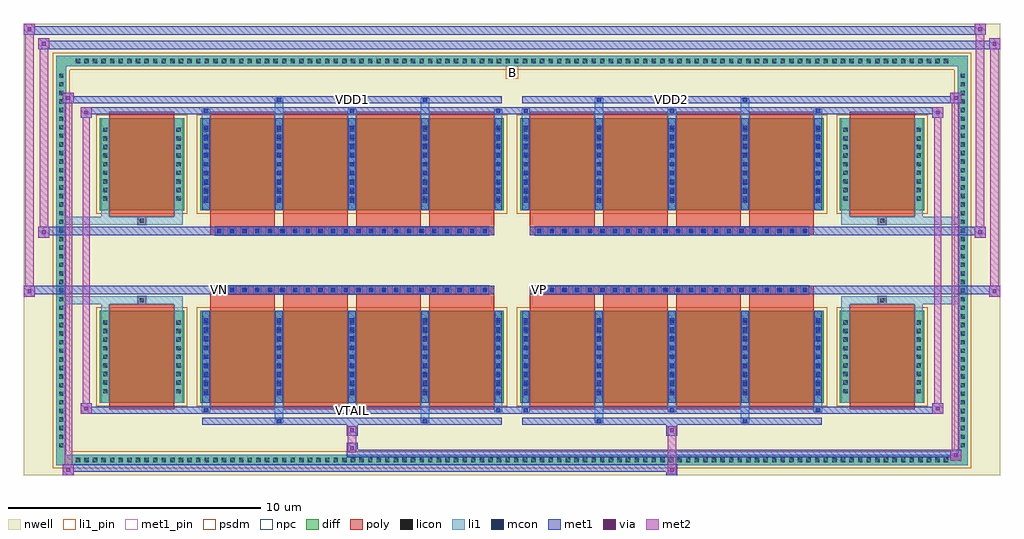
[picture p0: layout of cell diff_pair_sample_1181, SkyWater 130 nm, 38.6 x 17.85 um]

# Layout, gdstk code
import gdstk
lib = gdstk.Library(unit=1e-6, precision=5e-09)
def R(c, l, rs):  # rectangles x0, y0, x1, y1
    for r in rs: c.add(gdstk.rectangle(r[:2], r[2:], *l))
def A(c, l, x, y, w, h, nx, ny, dx, dy):  # array of equal rectangles
    R(c, l, [(x+i*dx, y+j*dy, x+i*dx+w, y+j*dy+h) for i in range(nx) for j in range(ny)])
def P(c, l, *ps):  # polygons
    for p in ps: c.add(gdstk.Polygon(p, *l))
nwell = (64, 20)
diff = (65, 20)
poly = (66, 20)
licon = (66, 44)
li1_pin = (67, 16)
li1 = (67, 20)
mcon = (67, 44)
met1_pin = (68, 16)
met1 = (68, 20)
via = (68, 44)
met2 = (69, 20)
psdm = (94, 20)
npc = (95, 20)

diff_pair_sample_1181 = lib.new_cell('diff_pair_sample_1181')
R(diff_pair_sample_1181, nwell, [(-19.3,-8.49,19.3,9.36), (-16.62,-6.68,-0.01,-0.8), (0.01,-6.68,16.62,-0.8), (-16.62,0.8,-0.01,6.68), (0.01,0.8,16.62,6.68)])
A(diff_pair_sample_1181, diff, -17.375, -8.09, 0.41, 0.41, 102, 2, 0.34, 15.77)
A(diff_pair_sample_1181, diff, -18.03, -7.515, 0.41, 0.41, 1, 44, 0, 0.34)
A(diff_pair_sample_1181, diff, 17.62, -7.515, 0.41, 0.41, 1, 44, 0, 0.34)
R(diff_pair_sample_1181, diff, [(-17.375,-8.09,17.375,-7.68), (-18.03,-7.515,-17.62,7.515), (17.62,-7.515,18.03,7.515), (-16.31,-5.635,-12.97,-1.985), (-12.33,-5.635,-0.32,-1.985), (0.32,-5.635,12.33,-1.985), (12.97,-5.635,16.31,-1.985), (-16.31,1.985,-12.97,5.635), (-12.33,1.985,-0.32,5.635), (0.32,1.985,12.33,5.635), (12.97,1.985,16.31,5.635), (-17.375,7.68,17.375,8.09)])
P(diff_pair_sample_1181, diff, [(18.03,8.09),(-18.03,8.09),(-18.03,-7.68),(-17.62,-7.68),(-17.62,7.68),(17.62,7.68),(17.62,-7.68),(-17.62,-7.68),(-18.03,-7.68),(-18.03,-8.09),(18.03,-8.09)])
A(diff_pair_sample_1181, poly, -11.94, -5.885, 2.56, 4.15, 4, 2, 2.89, 7.62)
A(diff_pair_sample_1181, poly, 0.71, -5.885, 2.56, 4.15, 4, 2, 2.89, 7.62)
A(diff_pair_sample_1181, poly, -11.94, -1.735, 2.56, 0.405, 4, 2, 2.89, 3.065)
A(diff_pair_sample_1181, poly, 0.71, -1.735, 2.56, 0.405, 4, 2, 2.89, 3.065)
A(diff_pair_sample_1181, poly, -11.74, -1.33, 0.33, 0.33, 22, 2, 0.5, 2.33)
A(diff_pair_sample_1181, poly, 0.91, -1.33, 0.33, 0.33, 22, 2, 0.5, 2.33)
R(diff_pair_sample_1181, poly, [(-15.92,-5.885,-13.36,-1.735), (13.36,-5.885,15.92,-1.735), (-14.805,-1.735,-14.475,-1.405), (-14.805,-1.735,-14.475,-1.405), (14.475,-1.735,14.805,-1.405), (14.475,-1.735,14.805,-1.405), (-11.94,-1.33,-0.71,-1), (0.71,-1.33,11.94,-1), (-11.94,1,-0.71,1.33), (0.71,1,11.94,1.33), (-14.805,1.405,-14.475,1.735), (-14.805,1.405,-14.475,1.735), (14.475,1.405,14.805,1.735), (14.475,1.405,14.805,1.735), (-15.92,1.735,-13.36,5.885), (13.36,1.735,15.92,5.885)])
A(diff_pair_sample_1181, licon, -17.255, -7.97, 0.17, 0.17, 102, 2, 0.34, 15.77)
A(diff_pair_sample_1181, licon, -17.91, -7.395, 0.17, 0.17, 1, 44, 0, 0.34)
A(diff_pair_sample_1181, licon, 17.74, -7.395, 0.17, 0.17, 1, 44, 0, 0.34)
A(diff_pair_sample_1181, licon, -16.17, -5.255, 0.17, 0.17, 1, 9, 0, 0.34)
A(diff_pair_sample_1181, licon, -13.28, -5.255, 0.17, 0.17, 1, 9, 0, 0.34)
A(diff_pair_sample_1181, licon, -12.19, -5.255, 0.17, 0.17, 5, 9, 2.89, 0.34)
A(diff_pair_sample_1181, licon, 0.46, -5.255, 0.17, 0.17, 5, 9, 2.89, 0.34)
A(diff_pair_sample_1181, licon, 13.11, -5.255, 0.17, 0.17, 1, 9, 0, 0.34)
A(diff_pair_sample_1181, licon, 16, -5.255, 0.17, 0.17, 1, 9, 0, 0.34)
A(diff_pair_sample_1181, licon, -11.66, -1.25, 0.17, 0.17, 22, 2, 0.5, 2.33)
A(diff_pair_sample_1181, licon, 0.99, -1.25, 0.17, 0.17, 22, 2, 0.5, 2.33)
A(diff_pair_sample_1181, licon, -16.17, 2.365, 0.17, 0.17, 1, 9, 0, 0.34)
A(diff_pair_sample_1181, licon, -13.28, 2.365, 0.17, 0.17, 1, 9, 0, 0.34)
A(diff_pair_sample_1181, licon, -12.19, 2.365, 0.17, 0.17, 5, 9, 2.89, 0.34)
A(diff_pair_sample_1181, licon, 0.46, 2.365, 0.17, 0.17, 5, 9, 2.89, 0.34)
A(diff_pair_sample_1181, licon, 13.11, 2.365, 0.17, 0.17, 1, 9, 0, 0.34)
A(diff_pair_sample_1181, licon, 16, 2.365, 0.17, 0.17, 1, 9, 0, 0.34)
R(diff_pair_sample_1181, licon, [(-14.725,-1.655,-14.555,-1.485), (14.555,-1.655,14.725,-1.485), (-14.725,1.485,-14.555,1.655), (14.555,1.485,14.725,1.655)])
R(diff_pair_sample_1181, li1_pin, [(-0.25,7.18,0.25,7.68)])
A(diff_pair_sample_1181, li1, -17.335, -8.05, 0.33, 0.33, 102, 2, 0.34, 15.77)
A(diff_pair_sample_1181, li1, -17.99, -7.475, 0.33, 0.33, 1, 44, 0, 0.34)
A(diff_pair_sample_1181, li1, 17.66, -7.475, 0.33, 0.33, 1, 44, 0, 0.34)
A(diff_pair_sample_1181, li1, -12.27, -6.01, 0.33, 0.375, 3, 2, 5.78, 11.645)
A(diff_pair_sample_1181, li1, -12.19, -6.01, 0.17, 0.17, 3, 2, 5.78, 11.85)
A(diff_pair_sample_1181, li1, 0.38, -6.01, 0.33, 0.375, 3, 2, 5.78, 11.645)
A(diff_pair_sample_1181, li1, 0.46, -6.01, 0.17, 0.17, 3, 2, 5.78, 11.85)
A(diff_pair_sample_1181, li1, -12.27, -5.635, 0.33, 3.65, 5, 2, 2.89, 7.62)
A(diff_pair_sample_1181, li1, 0.38, -5.635, 0.33, 3.65, 5, 2, 2.89, 7.62)
A(diff_pair_sample_1181, li1, -16.25, -5.335, 0.33, 0.33, 1, 9, 0, 0.34)
A(diff_pair_sample_1181, li1, -13.36, -5.335, 0.33, 0.33, 1, 9, 0, 0.34)
A(diff_pair_sample_1181, li1, -12.27, -5.335, 0.33, 0.33, 5, 9, 2.89, 0.34)
A(diff_pair_sample_1181, li1, -12.19, -5.335, 0.17, 0.17, 5, 9, 2.89, 0.36)
A(diff_pair_sample_1181, li1, -12.19, -5.335, 0.17, 3.05, 5, 2, 2.89, 7.62)
A(diff_pair_sample_1181, li1, 0.38, -5.335, 0.33, 0.33, 5, 9, 2.89, 0.34)
A(diff_pair_sample_1181, li1, 0.46, -5.335, 0.17, 0.17, 5, 9, 2.89, 0.36)
A(diff_pair_sample_1181, li1, 0.46, -5.335, 0.17, 3.05, 5, 2, 2.89, 7.62)
A(diff_pair_sample_1181, li1, 13.03, -5.335, 0.33, 0.33, 1, 9, 0, 0.34)
A(diff_pair_sample_1181, li1, 15.92, -5.335, 0.33, 0.33, 1, 9, 0, 0.34)
A(diff_pair_sample_1181, li1, -11.74, -1.33, 0.33, 0.33, 22, 2, 0.5, 2.33)
A(diff_pair_sample_1181, li1, 0.91, -1.33, 0.33, 0.33, 22, 2, 0.5, 2.33)
A(diff_pair_sample_1181, li1, -16.25, 2.285, 0.33, 0.33, 1, 9, 0, 0.34)
A(diff_pair_sample_1181, li1, -13.36, 2.285, 0.33, 0.33, 1, 9, 0, 0.34)
A(diff_pair_sample_1181, li1, -12.27, 2.285, 0.33, 0.33, 5, 9, 2.89, 0.34)
A(diff_pair_sample_1181, li1, -12.19, 2.285, 0.17, 0.17, 5, 9, 2.89, 0.36)
A(diff_pair_sample_1181, li1, 0.38, 2.285, 0.33, 0.33, 5, 9, 2.89, 0.34)
A(diff_pair_sample_1181, li1, 0.46, 2.285, 0.17, 0.17, 5, 9, 2.89, 0.36)
A(diff_pair_sample_1181, li1, 13.03, 2.285, 0.33, 0.33, 1, 9, 0, 0.34)
A(diff_pair_sample_1181, li1, 15.92, 2.285, 0.33, 0.33, 1, 9, 0, 0.34)
R(diff_pair_sample_1181, li1, [(-18.03,-8.09,-17.62,-7.68), (-18.03,-8.09,-17.62,-7.68), (-17.62,-8.09,17.62,-7.68), (17.62,-8.09,18.03,-7.68), (17.62,-8.09,18.03,-7.68), (-18.03,-7.68,-17.62,7.68), (17.62,-7.68,18.03,7.68), (-9.38,-6.44,-9.05,-5.635), (-9.3,-6.44,-9.13,-6.27), (-3.6,-6.44,-3.27,-5.635), (-3.52,-6.44,-3.35,-6.27), (3.27,-6.44,3.6,-5.635), (3.35,-6.44,3.52,-6.27), (9.05,-6.44,9.38,-5.635), (9.13,-6.44,9.3,-6.27), (-16.25,-5.635,-15.92,-1.985), (-13.36,-5.635,-13.03,-1.985), (13.03,-5.635,13.36,-1.985), (15.92,-5.635,16.25,-1.985), (-16.25,-1.985,-15.92,-1.405), (-13.36,-1.985,-13.03,-1.405), (13.03,-1.985,13.36,-1.405), (15.92,-1.985,16.25,-1.405), (-18.03,-1.735,-14.805,-1.405), (-16.25,-1.735,-14.805,-1.405), (-14.805,-1.735,-14.475,-1.405), (-14.475,-1.735,-13.03,-1.405), (13.03,-1.735,14.475,-1.405), (14.475,-1.735,14.805,-1.405), (14.475,-1.735,18.03,-1.405), (14.805,-1.735,16.25,-1.405), (-18.03,1.405,-14.805,1.735), (-16.25,1.405,-14.805,1.735), (-16.25,1.405,-15.92,1.985), (-14.805,1.405,-14.475,1.735), (-14.475,1.405,-13.03,1.735), (-13.36,1.405,-13.03,1.985), (13.03,1.405,14.475,1.735), (13.03,1.405,13.36,1.985), (14.475,1.405,14.805,1.735), (14.475,1.405,18.03,1.735), (14.805,1.405,16.25,1.735), (15.92,1.405,16.25,1.985), (-16.25,1.985,-15.92,5.635), (-13.36,1.985,-13.03,5.635), (13.03,1.985,13.36,5.635), (15.92,1.985,16.25,5.635), (-9.38,5.635,-9.05,6.44), (-3.6,5.635,-3.27,6.44), (3.27,5.635,3.6,6.44), (9.05,5.635,9.38,6.44), (-9.3,6.27,-9.13,6.44), (-3.52,6.27,-3.35,6.44), (3.35,6.27,3.52,6.44), (9.13,6.27,9.3,6.44), (-18.03,7.68,-17.62,8.09), (-18.03,7.68,-17.62,8.09), (-17.62,7.68,17.62,8.09), (17.62,7.68,18.03,8.09), (17.62,7.68,18.03,8.09)])
A(diff_pair_sample_1181, mcon, -12.19, -6.01, 0.17, 0.17, 3, 2, 5.78, 11.85)
A(diff_pair_sample_1181, mcon, 0.46, -6.01, 0.17, 0.17, 3, 2, 5.78, 11.85)
A(diff_pair_sample_1181, mcon, -12.19, -5.335, 0.17, 0.17, 5, 9, 2.89, 0.36)
A(diff_pair_sample_1181, mcon, 0.46, -5.335, 0.17, 0.17, 5, 9, 2.89, 0.36)
A(diff_pair_sample_1181, mcon, -11.66, -1.25, 0.17, 0.17, 22, 2, 0.5, 2.33)
A(diff_pair_sample_1181, mcon, 0.99, -1.25, 0.17, 0.17, 22, 2, 0.5, 2.33)
A(diff_pair_sample_1181, mcon, -12.19, 2.285, 0.17, 0.17, 5, 9, 2.89, 0.36)
A(diff_pair_sample_1181, mcon, 0.46, 2.285, 0.17, 0.17, 5, 9, 2.89, 0.36)
R(diff_pair_sample_1181, mcon, [(-9.3,-6.44,-9.13,-6.27), (-3.52,-6.44,-3.35,-6.27), (3.35,-6.44,3.52,-6.27), (9.13,-6.44,9.3,-6.27), (-9.3,6.27,-9.13,6.44), (-3.52,6.27,-3.35,6.44), (3.35,6.27,3.52,6.44), (9.13,6.27,9.3,6.44)])
R(diff_pair_sample_1181, met1_pin, [(-6.46,-6.05,-6.19,-5.78), (-11.71,-1.29,-11.44,-1.02), (0.94,-1.29,1.21,-1.02), (-6.46,6.23,-6.19,6.5), (6.19,6.23,6.46,6.5)])
A(diff_pair_sample_1181, met1, -12.25, -6.07, 0.29, 0.29, 3, 2, 5.78, 11.85)
A(diff_pair_sample_1181, met1, 0.4, -6.07, 0.29, 0.29, 3, 2, 5.78, 11.85)
A(diff_pair_sample_1181, met1, -12.25, -5.635, 0.29, 3.65, 5, 2, 2.89, 7.62)
A(diff_pair_sample_1181, met1, 0.4, -5.635, 0.29, 3.65, 5, 2, 2.89, 7.62)
A(diff_pair_sample_1181, met1, -12.25, -5.395, 0.29, 0.29, 5, 9, 2.89, 0.36)
A(diff_pair_sample_1181, met1, 0.4, -5.395, 0.29, 0.29, 5, 9, 2.89, 0.36)
A(diff_pair_sample_1181, met1, -11.72, -1.31, 0.29, 0.29, 22, 2, 0.5, 2.33)
A(diff_pair_sample_1181, met1, 0.93, -1.31, 0.29, 0.29, 22, 2, 0.5, 2.33)
A(diff_pair_sample_1181, met1, -12.25, 2.225, 0.29, 0.29, 5, 9, 2.89, 0.36)
A(diff_pair_sample_1181, met1, 0.4, 2.225, 0.29, 0.29, 5, 9, 2.89, 0.36)
R(diff_pair_sample_1181, met1, [(-17.76,-8.49,-17.33,-8.06), (6.11,-8.49,6.54,-8.06), (-17.76,-8.35,6.54,-8.06), (17.33,-7.92,17.76,-7.49), (-6.54,-7.78,17.76,-7.49), (-6.54,-7.64,-6.11,-7.21), (-6.54,-6.93,-6.11,-6.5), (6.11,-6.93,6.54,-6.5), (-12.25,-6.5,-0.4,-6.21), (-9.36,-6.5,-9.07,-6.21), (-3.58,-6.5,-3.29,-6.21), (0.4,-6.5,12.25,-6.21), (3.29,-6.5,3.58,-6.21), (9.07,-6.5,9.36,-6.21), (-17.05,-6.07,-16.62,-5.64), (-17.05,-6.07,-12.25,-5.78), (-12.25,-6.07,-0.4,-5.78), (-0.4,-6.07,0.4,-5.78), (0.4,-6.07,12.25,-5.78), (12.25,-6.07,17.05,-5.78), (16.62,-6.07,17.05,-5.64), (-19.3,-1.43,-18.87,-1), (18.87,-1.43,19.3,-1), (-19.3,-1.33,-0.71,-1), (-11.94,-1.33,-0.71,-1), (0.71,-1.33,11.94,-1), (0.71,-1.33,19.3,-1), (-18.73,0.9,-18.3,1.33), (18.3,0.9,18.73,1.33), (-18.73,1,-11.94,1.33), (-11.94,1,-0.71,1.33), (0.71,1,11.94,1.33), (11.94,1,18.73,1.33), (-17.05,5.64,-16.62,6.07), (16.62,5.64,17.05,6.07), (-17.05,5.78,-12.25,6.07), (-12.25,5.78,-0.4,6.07), (-0.4,5.78,0.4,6.07), (0.4,5.78,12.25,6.07), (12.25,5.78,17.05,6.07), (-17.76,6.21,-17.33,6.64), (-17.76,6.21,-12.25,6.5), (-12.25,6.21,-0.4,6.5), (-9.36,6.21,-9.07,6.5), (-3.58,6.21,-3.29,6.5), (0.4,6.21,12.25,6.5), (3.29,6.21,3.58,6.5), (9.07,6.21,9.36,6.5), (12.25,6.21,17.76,6.5), (17.33,6.21,17.76,6.64), (-18.73,8.36,-18.3,8.79), (-18.73,8.36,-16.62,8.69), (-16.62,8.36,16.62,8.69), (16.62,8.36,19.3,8.69), (18.87,8.36,19.3,8.79), (-19.3,8.93,-18.87,9.36), (-19.3,8.93,-16.62,9.26), (-16.62,8.93,16.62,9.26), (16.62,8.93,18.73,9.26), (18.3,8.93,18.73,9.36)])
R(diff_pair_sample_1181, via, [(-17.62,-8.35,-17.47,-8.2), (6.25,-8.35,6.4,-8.2), (17.47,-7.78,17.62,-7.63), (-6.4,-7.5,-6.25,-7.35), (-6.4,-6.79,-6.25,-6.64), (6.25,-6.79,6.4,-6.64), (-16.91,-5.93,-16.76,-5.78), (16.76,-5.93,16.91,-5.78), (-19.16,-1.29,-19.01,-1.14), (19.01,-1.29,19.16,-1.14), (-18.59,1.04,-18.44,1.19), (18.44,1.04,18.59,1.19), (-16.91,5.78,-16.76,5.93), (16.76,5.78,16.91,5.93), (-17.62,6.35,-17.47,6.5), (17.47,6.35,17.62,6.5), (-18.59,8.5,-18.44,8.65), (19.01,8.5,19.16,8.65), (-19.16,9.07,-19.01,9.22), (18.44,9.07,18.59,9.22)])
R(diff_pair_sample_1181, met2, [(-17.76,-8.49,-17.33,-8.06), (-17.69,-8.49,-17.4,6.64), (-17.4,-8.49,-17.33,-8.06), (-17.71,-8.44,-17.38,-8.11), (6.16,-8.44,6.49,-8.11), (6.16,-8.11,6.49,-6.88), (17.33,-7.92,17.76,-7.49), (17.4,-7.92,17.69,6.64), (17.69,-7.92,17.76,-7.49), (17.38,-7.87,17.71,-7.54), (-6.49,-7.59,-6.16,-7.26), (-6.49,-7.26,-6.16,-6.88), (-6.49,-6.88,-6.16,-6.55), (6.16,-6.88,6.49,-6.55), (-17.05,-6.07,-16.62,-5.64), (-16.98,-6.07,-16.69,6.07), (-16.69,-6.07,-16.62,-5.64), (16.62,-6.07,17.05,-5.64), (16.69,-6.07,16.98,6.07), (16.98,-6.07,17.05,-5.64), (-17,-6.02,-16.67,-5.69), (16.67,-6.02,17,-5.69), (-19.3,-1.43,-18.87,-1), (-19.25,-1.43,-18.92,9.36), (-18.92,-1.43,-18.87,-1), (18.87,-1.43,19.3,-1), (18.92,-1.43,19.25,8.79), (19.25,-1.43,19.3,-1), (-19.25,-1.38,-18.92,-1.05), (18.92,-1.38,19.25,-1.05), (-18.73,0.9,-18.3,1.33), (-18.68,0.9,-18.35,8.79), (-18.35,0.9,-18.3,1.33), (18.3,0.9,18.73,1.33), (18.35,0.9,18.68,9.36), (18.68,0.9,18.73,1.33), (-18.68,0.95,-18.35,1.28), (18.35,0.95,18.68,1.28), (-17.05,5.64,-16.62,6.07), (-16.69,5.64,-16.62,6.07), (16.62,5.64,17.05,6.07), (16.98,5.64,17.05,6.07), (-17,5.69,-16.67,6.02), (16.67,5.69,17,6.02), (-17.76,6.21,-17.33,6.64), (-17.4,6.21,-17.33,6.64), (17.33,6.21,17.76,6.64), (17.69,6.21,17.76,6.64), (-17.71,6.26,-17.38,6.59), (17.38,6.26,17.71,6.59), (-18.73,8.36,-18.3,8.79), (-18.35,8.36,-18.3,8.79), (18.87,8.36,19.3,8.79), (19.25,8.36,19.3,8.79), (-18.68,8.41,-18.35,8.74), (18.92,8.41,19.25,8.74), (-19.3,8.93,-18.87,9.36), (-18.92,8.93,-18.87,9.36), (18.3,8.93,18.73,9.36), (18.68,8.93,18.73,9.36), (-19.25,8.98,-18.92,9.31), (18.35,8.98,18.68,9.31)])
R(diff_pair_sample_1181, psdm, [(-16.44,-5.765,-12.84,-1.855), (-12.46,-5.765,-0.19,-1.855), (0.19,-5.765,12.46,-1.855), (12.84,-5.765,16.44,-1.855), (-16.44,1.855,-12.84,5.765), (-12.46,1.855,-0.19,5.765), (0.19,1.855,12.46,5.765), (12.84,1.855,16.44,5.765)])
P(diff_pair_sample_1181, psdm, [(18.16,8.22),(-18.16,8.22),(-18.16,-7.55),(-17.49,-7.55),(-17.49,7.55),(17.49,7.55),(17.49,-7.55),(-17.49,-7.55),(-18.16,-7.55),(-18.16,-8.22),(18.16,-8.22)])
A(diff_pair_sample_1181, npc, -11.76, -1.35, 0.37, 0.37, 22, 2, 0.5, 2.33)
A(diff_pair_sample_1181, npc, 0.89, -1.35, 0.37, 0.37, 22, 2, 0.5, 2.33)
R(diff_pair_sample_1181, npc, [(-14.825,-1.755,-14.455,-1.385), (14.455,-1.755,14.825,-1.385), (-11.76,-1.35,-10.89,-0.98), (-11.76,-1.35,-10.89,-0.98), (-11.26,-1.35,-10.39,-0.98), (-11.26,-1.35,-10.39,-0.98), (-10.76,-1.35,-9.89,-0.98), (-10.76,-1.35,-9.89,-0.98), (-10.26,-1.35,-9.39,-0.98), (-10.26,-1.35,-9.39,-0.98), (-9.76,-1.35,-8.89,-0.98), (-9.76,-1.35,-8.89,-0.98), (-9.26,-1.35,-8.39,-0.98), (-9.26,-1.35,-8.39,-0.98), (-8.76,-1.35,-7.89,-0.98), (-8.76,-1.35,-7.89,-0.98), (-8.26,-1.35,-7.39,-0.98), (-8.26,-1.35,-7.39,-0.98), (-7.76,-1.35,-6.89,-0.98), (-7.76,-1.35,-6.89,-0.98), (-7.26,-1.35,-6.39,-0.98), (-7.26,-1.35,-6.39,-0.98), (-6.76,-1.35,-5.89,-0.98), (-6.76,-1.35,-5.89,-0.98), (-6.26,-1.35,-5.39,-0.98), (-6.26,-1.35,-5.39,-0.98), (-5.76,-1.35,-4.89,-0.98), (-5.76,-1.35,-4.89,-0.98), (-5.26,-1.35,-4.39,-0.98), (-5.26,-1.35,-4.39,-0.98), (-4.76,-1.35,-3.89,-0.98), (-4.76,-1.35,-3.89,-0.98), (-4.26,-1.35,-3.39,-0.98), (-4.26,-1.35,-3.39,-0.98), (-3.76,-1.35,-2.89,-0.98), (-3.76,-1.35,-2.89,-0.98), (-3.26,-1.35,-2.39,-0.98), (-3.26,-1.35,-2.39,-0.98), (-2.76,-1.35,-1.89,-0.98), (-2.76,-1.35,-1.89,-0.98), (-2.26,-1.35,-1.39,-0.98), (-2.26,-1.35,-1.39,-0.98), (-1.76,-1.35,-0.89,-0.98), (-1.76,-1.35,-0.89,-0.98), (0.89,-1.35,1.76,-0.98), (0.89,-1.35,1.76,-0.98), (1.39,-1.35,2.26,-0.98), (1.39,-1.35,2.26,-0.98), (1.89,-1.35,2.76,-0.98), (1.89,-1.35,2.76,-0.98), (2.39,-1.35,3.26,-0.98), (2.39,-1.35,3.26,-0.98), (2.89,-1.35,3.76,-0.98), (2.89,-1.35,3.76,-0.98), (3.39,-1.35,4.26,-0.98), (3.39,-1.35,4.26,-0.98), (3.89,-1.35,4.76,-0.98), (3.89,-1.35,4.76,-0.98), (4.39,-1.35,5.26,-0.98), (4.39,-1.35,5.26,-0.98), (4.89,-1.35,5.76,-0.98), (4.89,-1.35,5.76,-0.98), (5.39,-1.35,6.26,-0.98), (5.39,-1.35,6.26,-0.98), (5.89,-1.35,6.76,-0.98), (5.89,-1.35,6.76,-0.98), (6.39,-1.35,7.26,-0.98), (6.39,-1.35,7.26,-0.98), (6.89,-1.35,7.76,-0.98), (6.89,-1.35,7.76,-0.98), (7.39,-1.35,8.26,-0.98), (7.39,-1.35,8.26,-0.98), (7.89,-1.35,8.76,-0.98), (7.89,-1.35,8.76,-0.98), (8.39,-1.35,9.26,-0.98), (8.39,-1.35,9.26,-0.98), (8.89,-1.35,9.76,-0.98), (8.89,-1.35,9.76,-0.98), (9.39,-1.35,10.26,-0.98), (9.39,-1.35,10.26,-0.98), (9.89,-1.35,10.76,-0.98), (9.89,-1.35,10.76,-0.98), (10.39,-1.35,11.26,-0.98), (10.39,-1.35,11.26,-0.98), (10.89,-1.35,11.76,-0.98), (10.89,-1.35,11.76,-0.98), (-11.76,0.98,-10.89,1.35), (-11.76,0.98,-10.89,1.35), (-11.26,0.98,-10.39,1.35), (-11.26,0.98,-10.39,1.35), (-10.76,0.98,-9.89,1.35), (-10.76,0.98,-9.89,1.35), (-10.26,0.98,-9.39,1.35), (-10.26,0.98,-9.39,1.35), (-9.76,0.98,-8.89,1.35), (-9.76,0.98,-8.89,1.35), (-9.26,0.98,-8.39,1.35), (-9.26,0.98,-8.39,1.35), (-8.76,0.98,-7.89,1.35), (-8.76,0.98,-7.89,1.35), (-8.26,0.98,-7.39,1.35), (-8.26,0.98,-7.39,1.35), (-7.76,0.98,-6.89,1.35), (-7.76,0.98,-6.89,1.35), (-7.26,0.98,-6.39,1.35), (-7.26,0.98,-6.39,1.35), (-6.76,0.98,-5.89,1.35), (-6.76,0.98,-5.89,1.35), (-6.26,0.98,-5.39,1.35), (-6.26,0.98,-5.39,1.35), (-5.76,0.98,-4.89,1.35), (-5.76,0.98,-4.89,1.35), (-5.26,0.98,-4.39,1.35), (-5.26,0.98,-4.39,1.35), (-4.76,0.98,-3.89,1.35), (-4.76,0.98,-3.89,1.35), (-4.26,0.98,-3.39,1.35), (-4.26,0.98,-3.39,1.35), (-3.76,0.98,-2.89,1.35), (-3.76,0.98,-2.89,1.35), (-3.26,0.98,-2.39,1.35), (-3.26,0.98,-2.39,1.35), (-2.76,0.98,-1.89,1.35), (-2.76,0.98,-1.89,1.35), (-2.26,0.98,-1.39,1.35), (-2.26,0.98,-1.39,1.35), (-1.76,0.98,-0.89,1.35), (-1.76,0.98,-0.89,1.35), (0.89,0.98,1.76,1.35), (0.89,0.98,1.76,1.35), (1.39,0.98,2.26,1.35), (1.39,0.98,2.26,1.35), (1.89,0.98,2.76,1.35), (1.89,0.98,2.76,1.35), (2.39,0.98,3.26,1.35), (2.39,0.98,3.26,1.35), (2.89,0.98,3.76,1.35), (2.89,0.98,3.76,1.35), (3.39,0.98,4.26,1.35), (3.39,0.98,4.26,1.35), (3.89,0.98,4.76,1.35), (3.89,0.98,4.76,1.35), (4.39,0.98,5.26,1.35), (4.39,0.98,5.26,1.35), (4.89,0.98,5.76,1.35), (4.89,0.98,5.76,1.35), (5.39,0.98,6.26,1.35), (5.39,0.98,6.26,1.35), (5.89,0.98,6.76,1.35), (5.89,0.98,6.76,1.35), (6.39,0.98,7.26,1.35), (6.39,0.98,7.26,1.35), (6.89,0.98,7.76,1.35), (6.89,0.98,7.76,1.35), (7.39,0.98,8.26,1.35), (7.39,0.98,8.26,1.35), (7.89,0.98,8.76,1.35), (7.89,0.98,8.76,1.35), (8.39,0.98,9.26,1.35), (8.39,0.98,9.26,1.35), (8.89,0.98,9.76,1.35), (8.89,0.98,9.76,1.35), (9.39,0.98,10.26,1.35), (9.39,0.98,10.26,1.35), (9.89,0.98,10.76,1.35), (9.89,0.98,10.76,1.35), (10.39,0.98,11.26,1.35), (10.39,0.98,11.26,1.35), (10.89,0.98,11.76,1.35), (10.89,0.98,11.76,1.35), (-14.825,1.385,-14.455,1.755), (14.455,1.385,14.825,1.755)])
diff_pair_sample_1181.add(gdstk.Label('VTAIL', (-6.325,-5.915), layer=68, texttype=5))
diff_pair_sample_1181.add(gdstk.Label('VN', (-11.575,-1.155), layer=68, texttype=5))
diff_pair_sample_1181.add(gdstk.Label('VP', (1.075,-1.155), layer=68, texttype=5))
diff_pair_sample_1181.add(gdstk.Label('B', (0,7.43), layer=67, texttype=5))
diff_pair_sample_1181.add(gdstk.Label('VDD2', (6.325,6.365), layer=68, texttype=5))
diff_pair_sample_1181.add(gdstk.Label('VDD1', (-6.325,6.365), layer=68, texttype=5))

lib.write_gds('diff_pair_sample_1181.gds')
